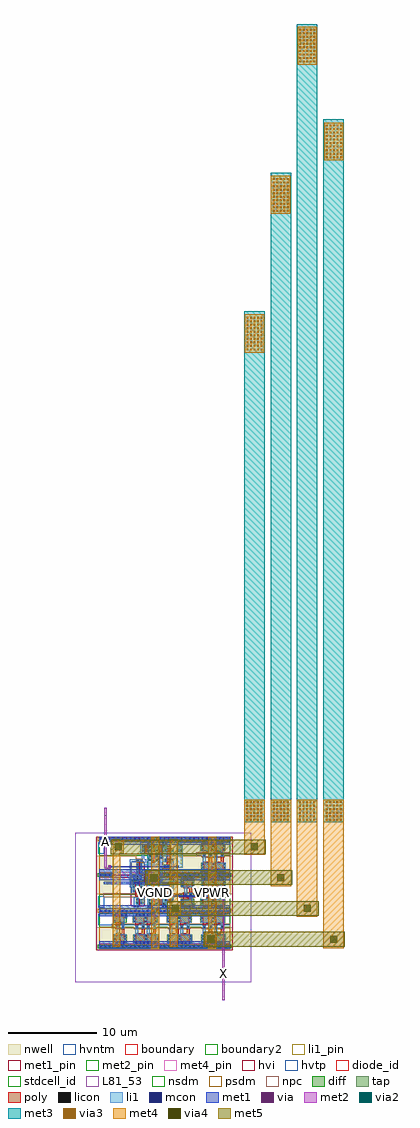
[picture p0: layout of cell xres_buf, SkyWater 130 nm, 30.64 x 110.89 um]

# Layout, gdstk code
from math import pi, radians
import gdstk
lib = gdstk.Library(unit=1e-6, precision=1e-09)
def R(c, l, rs):  # rectangles x0, y0, x1, y1
    for r in rs: c.add(gdstk.rectangle(r[:2], r[2:], *l))
def A(c, l, x, y, w, h, nx, ny, dx, dy):  # array of equal rectangles
    R(c, l, [(x+i*dx, y+j*dy, x+i*dx+w, y+j*dy+h) for i in range(nx) for j in range(ny)])
def P(c, l, *ps):  # polygons
    for p in ps: c.add(gdstk.Polygon(p, *l))
nwell = (64, 20)
diff = (65, 20)
tap = (65, 44)
poly = (66, 20)
licon = (66, 44)
li1_pin = (67, 16)
li1 = (67, 20)
mcon = (67, 44)
met1_pin = (68, 16)
met1 = (68, 20)
via = (68, 44)
met2_pin = (69, 16)
met2 = (69, 20)
via2 = (69, 44)
met3 = (70, 20)
via3 = (70, 44)
met4_pin = (71, 16)
met4 = (71, 20)
via4 = (71, 44)
met5 = (72, 20)
hvi = (75, 20)
hvtp = (78, 44)
stdcell_id = (81, 4)
diode_id = (81, 23)
L81_53 = (81, 53)
nsdm = (93, 44)
psdm = (94, 20)
npc = (95, 20)
hvntm = (125, 20)
boundary = (235, 4)
boundary2 = (236, 0)

sky130_fd_sc_hvl__decap_ = lib.new_cell('sky130_fd_sc_hvl__decap_4')
R(sky130_fd_sc_hvl__decap_, nwell, [(-0.33,1.885,2.25,4.485)])
R(sky130_fd_sc_hvl__decap_, diff, [(0.21,0.595,1.76,1.345), (0.21,2.705,1.76,3.705)])
R(sky130_fd_sc_hvl__decap_, tap, [(0,-0.085,1.92,0.085), (0,3.985,1.92,4.155)])
P(sky130_fd_sc_hvl__decap_, poly, [(0.475,1.7),(0.475,3.835),(1.475,3.835),(1.475,2.575),(0.805,2.575),(0.805,1.7)],
  [(0.475,0.405),(0.475,1.475),(1.015,1.475),(1.015,2.03),(1.475,2.03),(1.475,0.405)])
A(sky130_fd_sc_hvl__decap_, licon, 0.155, -0.085, 0.17, 0.17, 4, 2, 0.48, 4.07)
A(sky130_fd_sc_hvl__decap_, licon, 0.25, 2.765, 0.17, 0.17, 1, 3, 0, 0.355)
A(sky130_fd_sc_hvl__decap_, licon, 1.53, 2.765, 0.17, 0.17, 1, 3, 0, 0.355)
R(sky130_fd_sc_hvl__decap_, licon, [(0.25,0.675,0.42,0.845), (1.53,0.725,1.7,0.895), (1.53,1.08,1.7,1.25), (0.555,1.78,0.725,1.95), (1.095,1.78,1.265,1.95)])
R(sky130_fd_sc_hvl__decap_, li1, [(0,-0.085,1.92,0.085), (0,3.985,1.92,4.155)])
P(sky130_fd_sc_hvl__decap_, li1, [(1.015,1.7),(1.015,2.685),(0.25,2.685),(0.25,3.755),(1.7,3.755),(1.7,2.685),(1.345,2.685),(1.345,1.7)],
  [(0.17,0.365),(0.17,0.845),(0.475,0.845),(0.475,2.03),(0.805,2.03),(0.805,1.25),(1.78,1.25),(1.78,0.365)])
A(sky130_fd_sc_hvl__decap_, mcon, 0.155, -0.085, 0.17, 0.17, 4, 2, 0.48, 4.07)
A(sky130_fd_sc_hvl__decap_, mcon, 0.215, 0.395, 0.17, 0.17, 3, 1, 0.44, 0)
R(sky130_fd_sc_hvl__decap_, mcon, [(1.51,0.395,1.68,0.565), (0.495,3.56,0.665,3.73), (0.86,3.56,1.03,3.73), (1.3,3.56,1.47,3.73)])
R(sky130_fd_sc_hvl__decap_, met1_pin, [(0,0,1.92,0.115), (0,0,1.92,0.115), (0,0.255,1.92,0.625), (0,3.445,1.92,3.815), (0,3.955,1.92,4.07), (0,3.955,1.92,4.07)])
R(sky130_fd_sc_hvl__decap_, met1, [(0,-0.115,1.92,0.115), (0,0.255,1.92,0.625), (0,3.445,1.92,3.815), (0,3.955,1.92,4.185)])
R(sky130_fd_sc_hvl__decap_, hvi, [(-0.33,-0.265,2.25,4.485)])
R(sky130_fd_sc_hvl__decap_, stdcell_id, [(0,0,1.92,4.07)])
R(sky130_fd_sc_hvl__decap_, nsdm, [(-0.13,3.855,2.05,4.285)])
P(sky130_fd_sc_hvl__decap_, nsdm, [(0,0.215),(0,1.885),(0.425,1.885),(0.425,2.07),(1.54,2.07),(1.54,1.885),(1.92,1.885),(1.92,0.215)])
R(sky130_fd_sc_hvl__decap_, psdm, [(-0.13,-0.215,2.05,0.215)])
P(sky130_fd_sc_hvl__decap_, psdm, [(0,1.885),(0,3.855),(1.92,3.855),(1.92,1.885),(1.54,1.885),(1.54,2.07),(0.425,2.07),(0.425,1.885)])
P(sky130_fd_sc_hvl__decap_, npc, [(0,1.5),(0,1.97),(0.425,1.97),(0.425,2.05),(1.54,2.05),(1.54,1.97),(1.92,1.97),(1.92,1.5)])
R(sky130_fd_sc_hvl__decap_, hvntm, [(-0.035,0.35,1.955,1.64)])
R(sky130_fd_sc_hvl__decap_, boundary2, [(0,0,1.92,4.07)])
sky130_fd_sc_hvl__decap_.add(gdstk.Label('decap_4', (0,0), layer=83, texttype=44))
sky130_fd_sc_hvl__decap_.add(gdstk.Label('VNB', (0.96,0.058), layer=68, texttype=5))
sky130_fd_sc_hvl__decap_.add(gdstk.Label('VGND', (0.96,0.44), layer=68, texttype=5))
sky130_fd_sc_hvl__decap_.add(gdstk.Label('VNB', (0.96,0.058), layer=68, texttype=5))
sky130_fd_sc_hvl__decap_.add(gdstk.Label('VPWR', (0.96,3.63), layer=68, texttype=5))
sky130_fd_sc_hvl__decap_.add(gdstk.Label('VPB', (0.96,4.013), layer=68, texttype=5))
sky130_fd_sc_hvl__decap_.add(gdstk.Label('VPB', (0.96,4.013), layer=68, texttype=5))

c_sky130_fd_sc_hvl__decap_ = lib.new_cell('sky130_fd_sc_hvl__decap_8')
R(c_sky130_fd_sc_hvl__decap_, nwell, [(-0.33,1.885,4.17,4.485)])
R(c_sky130_fd_sc_hvl__decap_, diff, [(0.535,0.59,3.365,1.34), (0.46,2.7,3.3,3.7)])
R(c_sky130_fd_sc_hvl__decap_, tap, [(0,-0.085,3.84,0.085), (0,3.985,3.84,4.155)])
P(c_sky130_fd_sc_hvl__decap_, poly, [(2.08,0.4),(2.08,1.47),(2.75,1.47),(2.75,2.025),(3.08,2.025),(3.08,0.4)],
  [(2.015,1.695),(2.015,3.83),(3.015,3.83),(3.015,2.57),(2.345,2.57),(2.345,1.695)],
  [(0.735,1.695),(0.735,3.83),(1.735,3.83),(1.735,2.57),(1.065,2.57),(1.065,1.695)],
  [(0.8,0.4),(0.8,1.47),(1.47,1.47),(1.47,2.025),(1.8,2.025),(1.8,0.4)])
A(c_sky130_fd_sc_hvl__decap_, licon, 0.155, -0.085, 0.17, 0.17, 8, 2, 0.48, 4.07)
A(c_sky130_fd_sc_hvl__decap_, licon, 0.575, 0.72, 0.17, 0.17, 3, 2, 1.28, 0.39)
A(c_sky130_fd_sc_hvl__decap_, licon, 0.5, 2.76, 0.17, 0.17, 1, 3, 0, 0.355)
A(c_sky130_fd_sc_hvl__decap_, licon, 1.79, 2.76, 0.17, 0.17, 1, 3, 0, 0.355)
A(c_sky130_fd_sc_hvl__decap_, licon, 3.07, 2.76, 0.17, 0.17, 1, 3, 0, 0.355)
R(c_sky130_fd_sc_hvl__decap_, licon, [(0.815,1.775,0.985,1.945), (1.55,1.775,1.72,1.945), (2.095,1.775,2.265,1.945), (2.83,1.775,3,1.945)])
R(c_sky130_fd_sc_hvl__decap_, li1, [(0,-0.085,3.84,0.085), (0,3.985,3.84,4.155)])
P(c_sky130_fd_sc_hvl__decap_, li1, [(1.47,1.695),(1.47,2.68),(0.5,2.68),(0.5,3.75),(3.24,3.75),(3.24,2.68),(3.08,2.68),(3.08,1.695),(2.75,1.695),(2.75,2.68),(1.8,2.68),(1.8,1.695)],
  [(0.575,0.36),(0.575,1.36),(0.735,1.36),(0.735,2.025),(1.065,2.025),(1.065,1.36),(2.015,1.36),(2.015,2.025),(2.345,2.025),(2.345,1.36),(3.305,1.36),(3.305,0.36)])
A(c_sky130_fd_sc_hvl__decap_, mcon, 0.155, -0.085, 0.17, 0.17, 8, 2, 0.48, 4.07)
R(c_sky130_fd_sc_hvl__decap_, mcon, [(0.745,0.39,0.915,0.56), (1.185,0.39,1.355,0.56), (1.6,0.39,1.77,0.56), (2.025,0.39,2.195,0.56), (2.465,0.39,2.635,0.56), (2.88,0.39,3.05,0.56), (0.705,3.555,0.875,3.725), (1.145,3.555,1.315,3.725), (1.56,3.555,1.73,3.725), (1.985,3.555,2.155,3.725), (2.425,3.555,2.595,3.725), (2.84,3.555,3.01,3.725)])
R(c_sky130_fd_sc_hvl__decap_, met1_pin, [(0,0,3.84,0.115), (0,0,3.84,0.115), (0,0.255,3.84,0.625), (0,3.445,3.84,3.815), (0,3.955,3.84,4.07), (0,3.955,3.84,4.07)])
R(c_sky130_fd_sc_hvl__decap_, met1, [(0,-0.115,3.84,0.115), (0,0.255,3.84,0.625), (0,3.445,3.84,3.815), (0,3.955,3.84,4.185)])
R(c_sky130_fd_sc_hvl__decap_, hvi, [(-0.33,-0.265,4.17,4.485)])
R(c_sky130_fd_sc_hvl__decap_, stdcell_id, [(0,0,3.84,4.07)])
R(c_sky130_fd_sc_hvl__decap_, nsdm, [(-0.13,3.855,3.97,4.285)])
P(c_sky130_fd_sc_hvl__decap_, nsdm, [(0,0.215),(0,1.885),(0.705,1.885),(0.705,2.055),(3.24,2.055),(3.24,1.885),(3.84,1.885),(3.84,0.215)])
R(c_sky130_fd_sc_hvl__decap_, psdm, [(-0.13,-0.215,3.97,0.215)])
P(c_sky130_fd_sc_hvl__decap_, psdm, [(0,1.885),(0,3.855),(3.84,3.855),(3.84,1.885),(3.24,1.885),(3.24,2.055),(0.705,2.055),(0.705,1.885)])
P(c_sky130_fd_sc_hvl__decap_, npc, [(0,1.5),(0,1.97),(0.615,1.97),(0.615,2.05),(3.2,2.05),(3.2,1.97),(3.84,1.97),(3.84,1.5)])
R(c_sky130_fd_sc_hvl__decap_, hvntm, [(-0.035,0.35,3.875,1.64)])
R(c_sky130_fd_sc_hvl__decap_, boundary2, [(0,0,3.84,4.07)])
c_sky130_fd_sc_hvl__decap_.add(gdstk.Label('decap_8', (0,0), layer=83, texttype=44))
c_sky130_fd_sc_hvl__decap_.add(gdstk.Label('VNB', (1.92,0.058), layer=68, texttype=5))
c_sky130_fd_sc_hvl__decap_.add(gdstk.Label('VGND', (1.92,0.44), layer=68, texttype=5))
c_sky130_fd_sc_hvl__decap_.add(gdstk.Label('VNB', (1.92,0.058), layer=68, texttype=5))
c_sky130_fd_sc_hvl__decap_.add(gdstk.Label('VPWR', (1.92,3.63), layer=68, texttype=5))
c_sky130_fd_sc_hvl__decap_.add(gdstk.Label('VPB', (1.92,4.013), layer=68, texttype=5))
c_sky130_fd_sc_hvl__decap_.add(gdstk.Label('VPB', (1.92,4.013), layer=68, texttype=5))

sky130_fd_sc_hvl__fill_1 = lib.new_cell('sky130_fd_sc_hvl__fill_1')
R(sky130_fd_sc_hvl__fill_1, nwell, [(-0.33,1.885,0.81,4.485)])
R(sky130_fd_sc_hvl__fill_1, tap, [(0,-0.085,0.48,0.085), (0,3.985,0.48,4.155)])
R(sky130_fd_sc_hvl__fill_1, licon, [(0.155,-0.085,0.325,0.085), (0.155,3.985,0.325,4.155)])
R(sky130_fd_sc_hvl__fill_1, li1, [(0,-0.085,0.48,0.085), (0,3.985,0.48,4.155)])
R(sky130_fd_sc_hvl__fill_1, mcon, [(0.155,-0.085,0.325,0.085), (0.155,-0.085,0.325,0.085), (0.155,3.985,0.325,4.155), (0.155,3.985,0.325,4.155)])
R(sky130_fd_sc_hvl__fill_1, met1_pin, [(0,0,0.48,0.115), (0,0,0.48,0.115), (0,0.255,0.48,0.625), (0,3.445,0.48,3.815), (0,3.955,0.48,4.07), (0,3.955,0.48,4.07)])
R(sky130_fd_sc_hvl__fill_1, met1, [(0,-0.115,0.48,0.115), (0,0.255,0.48,0.625), (0,3.445,0.48,3.815), (0,3.955,0.48,4.185)])
R(sky130_fd_sc_hvl__fill_1, hvi, [(-0.33,-0.265,0.81,4.485)])
R(sky130_fd_sc_hvl__fill_1, stdcell_id, [(0,0,0.48,4.07)])
R(sky130_fd_sc_hvl__fill_1, nsdm, [(0,0.215,0.48,1.885), (-0.13,3.855,0.61,4.285), (0,3.855,0.48,4.07)])
R(sky130_fd_sc_hvl__fill_1, psdm, [(-0.13,-0.215,0.61,0.215), (0,1.885,0.48,3.855)])
R(sky130_fd_sc_hvl__fill_1, hvntm, [(-0.11,0.35,0.59,1.64)])
R(sky130_fd_sc_hvl__fill_1, boundary2, [(0,0,0.48,4.07)])
sky130_fd_sc_hvl__fill_1.add(gdstk.Label('fill_1', (0,0), layer=83, texttype=44))
sky130_fd_sc_hvl__fill_1.add(gdstk.Label('VNB', (0.24,0.058), layer=68, texttype=5))
sky130_fd_sc_hvl__fill_1.add(gdstk.Label('VNB', (0.24,0.058), layer=68, texttype=5))
sky130_fd_sc_hvl__fill_1.add(gdstk.Label('VPWR', (0.24,3.63), layer=68, texttype=5))
sky130_fd_sc_hvl__fill_1.add(gdstk.Label('VPB', (0.24,4.013), layer=68, texttype=5))
sky130_fd_sc_hvl__fill_1.add(gdstk.Label('VPB', (0.24,4.013), layer=68, texttype=5))
sky130_fd_sc_hvl__fill_1.add(gdstk.Label('VGND', (0.24,0.44), layer=68, texttype=5))

sky130_fd_sc_hvl__fill_2 = lib.new_cell('sky130_fd_sc_hvl__fill_2')
R(sky130_fd_sc_hvl__fill_2, nwell, [(-0.33,1.885,1.29,4.485)])
R(sky130_fd_sc_hvl__fill_2, tap, [(0,-0.085,0.96,0.085), (0,3.985,0.96,4.155)])
R(sky130_fd_sc_hvl__fill_2, licon, [(0.155,-0.085,0.325,0.085), (0.635,-0.085,0.805,0.085), (0.155,3.985,0.325,4.155), (0.635,3.985,0.805,4.155)])
R(sky130_fd_sc_hvl__fill_2, li1, [(0,-0.085,0.96,0.085), (0,3.985,0.96,4.155)])
R(sky130_fd_sc_hvl__fill_2, mcon, [(0.155,-0.085,0.325,0.085), (0.155,-0.085,0.325,0.085), (0.635,-0.085,0.805,0.085), (0.635,-0.085,0.805,0.085), (0.155,3.985,0.325,4.155), (0.155,3.985,0.325,4.155), (0.635,3.985,0.805,4.155), (0.635,3.985,0.805,4.155)])
R(sky130_fd_sc_hvl__fill_2, met1_pin, [(0,0,0.96,0.115), (0,0,0.96,0.115), (0,0.255,0.96,0.625), (0,3.445,0.96,3.815), (0,3.955,0.96,4.07), (0,3.955,0.96,4.07)])
R(sky130_fd_sc_hvl__fill_2, met1, [(0,-0.115,0.96,0.115), (0,0.255,0.96,0.625), (0,3.445,0.96,3.815), (0,3.955,0.96,4.185)])
R(sky130_fd_sc_hvl__fill_2, hvi, [(-0.33,-0.265,1.29,4.485)])
R(sky130_fd_sc_hvl__fill_2, stdcell_id, [(0,0,0.96,4.07)])
R(sky130_fd_sc_hvl__fill_2, nsdm, [(0,0.215,0.96,1.885), (-0.13,3.855,1.09,4.285), (0,3.855,0.96,4.07)])
R(sky130_fd_sc_hvl__fill_2, psdm, [(-0.13,-0.215,1.09,0.215), (0,1.885,0.96,3.855)])
R(sky130_fd_sc_hvl__fill_2, hvntm, [(-0.035,0.35,0.995,1.64)])
R(sky130_fd_sc_hvl__fill_2, boundary2, [(0,0,0.96,4.07)])
sky130_fd_sc_hvl__fill_2.add(gdstk.Label('fill_2', (0,0), layer=83, texttype=44))
sky130_fd_sc_hvl__fill_2.add(gdstk.Label('VGND', (0.48,0.44), layer=68, texttype=5))
sky130_fd_sc_hvl__fill_2.add(gdstk.Label('VNB', (0.48,0.058), layer=68, texttype=5))
sky130_fd_sc_hvl__fill_2.add(gdstk.Label('VNB', (0.48,0.058), layer=68, texttype=5))
sky130_fd_sc_hvl__fill_2.add(gdstk.Label('VPWR', (0.48,3.63), layer=68, texttype=5))
sky130_fd_sc_hvl__fill_2.add(gdstk.Label('VPB', (0.48,4.013), layer=68, texttype=5))
sky130_fd_sc_hvl__fill_2.add(gdstk.Label('VPB', (0.48,4.013), layer=68, texttype=5))

sky130_fd_sc_hvl__diode_ = lib.new_cell('sky130_fd_sc_hvl__diode_2')
R(sky130_fd_sc_hvl__diode_, nwell, [(-0.33,1.885,1.29,4.485)])
R(sky130_fd_sc_hvl__diode_, diff, [(0.15,0.535,0.81,1.455)])
R(sky130_fd_sc_hvl__diode_, tap, [(0,-0.085,0.96,0.085), (0,3.985,0.96,4.155)])
R(sky130_fd_sc_hvl__diode_, licon, [(0.155,-0.085,0.325,0.085), (0.635,-0.085,0.805,0.085), (0.21,0.595,0.38,0.765), (0.58,0.595,0.75,0.765), (0.21,1.225,0.38,1.395), (0.58,1.225,0.75,1.395), (0.155,3.985,0.325,4.155), (0.635,3.985,0.805,4.155)])
A(sky130_fd_sc_hvl__diode_, li1_pin, 0.155, 0.84, 0.17, 0.17, 1, 7, 0, 0.37)
A(sky130_fd_sc_hvl__diode_, li1_pin, 0.635, 0.84, 0.17, 0.17, 1, 7, 0, 0.37)
R(sky130_fd_sc_hvl__diode_, li1, [(0,-0.085,0.96,0.085), (0.105,0.515,0.855,3.28), (0,3.985,0.96,4.155)])
R(sky130_fd_sc_hvl__diode_, mcon, [(0.155,-0.085,0.325,0.085), (0.155,-0.085,0.325,0.085), (0.635,-0.085,0.805,0.085), (0.635,-0.085,0.805,0.085), (0.155,3.985,0.325,4.155), (0.155,3.985,0.325,4.155), (0.635,3.985,0.805,4.155), (0.635,3.985,0.805,4.155)])
R(sky130_fd_sc_hvl__diode_, met1_pin, [(0,0,0.96,0.115), (0,0,0.96,0.115), (0,0.255,0.96,0.625), (0,3.445,0.96,3.815), (0,3.955,0.96,4.07), (0,3.955,0.96,4.07)])
R(sky130_fd_sc_hvl__diode_, met1, [(0,-0.115,0.96,0.115), (0,0.255,0.96,0.625), (0,3.445,0.96,3.815), (0,3.955,0.96,4.185)])
R(sky130_fd_sc_hvl__diode_, hvi, [(-0.33,-0.265,1.29,4.485)])
R(sky130_fd_sc_hvl__diode_, stdcell_id, [(0,0,0.96,4.07)])
R(sky130_fd_sc_hvl__diode_, diode_id, [(0.15,0.535,0.81,1.455)])
R(sky130_fd_sc_hvl__diode_, nsdm, [(0,0.215,0.96,1.885), (-0.13,3.855,1.09,4.285), (0,3.855,0.96,4.07)])
R(sky130_fd_sc_hvl__diode_, psdm, [(-0.13,-0.215,1.09,0.215), (0,1.885,0.96,3.855)])
R(sky130_fd_sc_hvl__diode_, hvntm, [(-0.035,0.35,0.995,1.64)])
R(sky130_fd_sc_hvl__diode_, boundary2, [(0,0,0.96,4.07)])
sky130_fd_sc_hvl__diode_.add(gdstk.Label('diode_2', (0,0), layer=83, texttype=44))
sky130_fd_sc_hvl__diode_.add(gdstk.Label('VGND', (0.48,0.44), layer=68, texttype=5))
sky130_fd_sc_hvl__diode_.add(gdstk.Label('VNB', (0.48,0.058), layer=68, texttype=5))
sky130_fd_sc_hvl__diode_.add(gdstk.Label('VNB', (0.48,0.058), layer=68, texttype=5))
sky130_fd_sc_hvl__diode_.add(gdstk.Label('VPWR', (0.48,3.63), layer=68, texttype=5))
sky130_fd_sc_hvl__diode_.add(gdstk.Label('VPB', (0.48,4.013), layer=68, texttype=5))
sky130_fd_sc_hvl__diode_.add(gdstk.Label('VPB', (0.48,4.013), layer=68, texttype=5))
sky130_fd_sc_hvl__diode_.add(gdstk.Label('DIODE', (0.24,3.145), layer=67, texttype=5))
sky130_fd_sc_hvl__diode_.add(gdstk.Label('DIODE', (0.72,3.145), layer=67, texttype=5))
sky130_fd_sc_hvl__diode_.add(gdstk.Label('DIODE', (0.24,2.775), layer=67, texttype=5))
sky130_fd_sc_hvl__diode_.add(gdstk.Label('DIODE', (0.72,2.775), layer=67, texttype=5))
sky130_fd_sc_hvl__diode_.add(gdstk.Label('DIODE', (0.24,2.405), layer=67, texttype=5))
sky130_fd_sc_hvl__diode_.add(gdstk.Label('DIODE', (0.72,2.405), layer=67, texttype=5))
sky130_fd_sc_hvl__diode_.add(gdstk.Label('DIODE', (0.24,2.035), layer=67, texttype=5))
sky130_fd_sc_hvl__diode_.add(gdstk.Label('DIODE', (0.72,2.035), layer=67, texttype=5))
sky130_fd_sc_hvl__diode_.add(gdstk.Label('DIODE', (0.24,1.665), layer=67, texttype=5))
sky130_fd_sc_hvl__diode_.add(gdstk.Label('DIODE', (0.72,1.665), layer=67, texttype=5))
sky130_fd_sc_hvl__diode_.add(gdstk.Label('DIODE', (0.72,1.295), layer=67, texttype=5))
sky130_fd_sc_hvl__diode_.add(gdstk.Label('DIODE', (0.72,0.925), layer=67, texttype=5))
sky130_fd_sc_hvl__diode_.add(gdstk.Label('DIODE', (0.24,0.925), layer=67, texttype=5))
sky130_fd_sc_hvl__diode_.add(gdstk.Label('DIODE', (0.24,1.295), layer=67, texttype=5))

sky130_fd_sc_hvl__lsbufh = lib.new_cell('sky130_fd_sc_hvl__lsbufhv2lv_1')
R(sky130_fd_sc_hvl__lsbufh, nwell, [(-0.33,1.885,1.53,6.255), (7,1.885,8.49,6.255), (3.53,1.925,5,5.575)])
R(sky130_fd_sc_hvl__lsbufh, diff, [(1.96,0.705,2.99,1.455), (3.71,0.755,4.39,1.495), (3.71,2.105,4.82,3.225), (1.96,2.125,2.99,2.875), (0.15,2.215,1.2,2.635), (1.96,3.175,2.99,3.925), (3.71,4.275,4.39,5.395), (0.15,5.505,1.2,5.925), (1.96,5.635,2.99,6.385), (1.96,6.685,2.99,7.435), (2.74,6.685,3.77,7.435)])
P(sky130_fd_sc_hvl__lsbufh, diff, [(0.15,6.685),(0.15,7.105),(1.01,7.105),(1.01,7.435),(2.04,7.435),(2.04,6.685)],
  [(1.01,0.705),(1.01,1.035),(0.15,1.035),(0.15,1.455),(2.04,1.455),(2.04,0.705)])
R(sky130_fd_sc_hvl__lsbufh, tap, [(0,-0.085,8.16,0.085), (3.71,3.495,4.82,4.005), (0,3.985,1.2,4.155), (7.33,3.985,8.16,4.155), (0,8.055,8.16,8.225)])
R(sky130_fd_sc_hvl__lsbufh, poly, [(3.975,0.625,4.125,3.355), (4.405,1.965,4.555,3.355), (0.63,2.795,1.3,3.125), (2.225,3.045,2.725,4.055), (3.975,4.145,4.125,5.555), (2.83,4.265,3.5,4.595), (0.63,4.87,1.3,5.2), (0.63,5.2,0.935,5.375), (0.435,5.375,0.935,6.085), (3.715,5.555,4.385,5.885), (0.435,5.97,0.935,7.37)])
P(sky130_fd_sc_hvl__lsbufh, poly, [(1.445,0.575),(1.445,2.235),(1.775,2.235),(1.775,1.98),(2.225,1.98),(2.225,3.045),(2.725,3.045),(2.725,0.575),(2.225,0.575),(2.225,1.65),(1.945,1.65),(1.945,0.575)],
  [(3.17,1.635),(3.17,4.265),(3.5,4.265),(3.5,1.965),(4.555,1.965),(4.555,1.635)],
  [(0.435,0.905),(0.435,2.765),(0.63,2.765),(0.63,2.795),(0.935,2.795),(0.935,0.905)],
  [(2.225,5.505),(2.225,6.46),(1.775,6.46),(1.775,5.905),(1.445,5.905),(1.445,7.565),(1.945,7.565),(1.945,6.61),(2.225,6.61),(2.225,7.565),(2.725,7.565),(2.725,6.61),(3.005,6.61),(3.005,7.565),(3.505,7.565),(3.505,6.46),(2.725,6.46),(2.725,5.505)])
A(sky130_fd_sc_hvl__lsbufh, licon, 0.155, -0.085, 0.17, 0.17, 17, 2, 0.48, 8.14)
A(sky130_fd_sc_hvl__lsbufh, licon, 1.22, 0.765, 0.17, 0.17, 3, 1, 0.78, 0)
A(sky130_fd_sc_hvl__lsbufh, licon, 3.75, 2.165, 0.17, 0.17, 3, 1, 0.43, 0)
A(sky130_fd_sc_hvl__lsbufh, licon, 3.83, 3.495, 0.17, 0.17, 3, 2, 0.35, 0.34)
A(sky130_fd_sc_hvl__lsbufh, licon, 3.75, 4.335, 0.17, 0.17, 1, 3, 0, 0.415)
A(sky130_fd_sc_hvl__lsbufh, licon, 4.18, 4.335, 0.17, 0.17, 1, 3, 0, 0.415)
A(sky130_fd_sc_hvl__lsbufh, licon, 2, 6.745, 0.17, 0.17, 3, 1, 0.78, 0)
A(sky130_fd_sc_hvl__lsbufh, licon, 1.22, 7.205, 0.17, 0.17, 4, 1, 0.78, 0)
R(sky130_fd_sc_hvl__lsbufh, licon, [(3.75,0.815,3.92,0.985), (4.18,0.815,4.35,0.985), (0.21,1.16,0.38,1.33), (0.99,1.16,1.16,1.33), (2,1.205,2.17,1.375), (2.78,1.205,2.95,1.375), (3.75,1.265,3.92,1.435), (4.18,1.265,4.35,1.435), (1.525,1.645,1.695,1.815), (1.525,1.985,1.695,2.155), (2,2.185,2.17,2.355), (2.78,2.185,2.95,2.355), (0.21,2.34,0.38,2.51), (0.99,2.34,1.16,2.51), (3.75,2.58,3.92,2.75), (4.18,2.58,4.35,2.75), (2,2.625,2.17,2.795), (2.78,2.625,2.95,2.795), (4.61,2.655,4.78,2.825), (0.71,2.875,0.88,3.045), (1.05,2.875,1.22,3.045), (3.75,2.995,3.92,3.165), (4.18,2.995,4.35,3.165), (2,3.235,2.17,3.405), (2.78,3.235,2.95,3.405), (2,3.675,2.17,3.845), (2.78,3.675,2.95,3.845), (0.155,3.985,0.325,4.155), (0.635,3.985,0.805,4.155), (7.45,3.985,7.62,4.155), (7.835,3.985,8.005,4.155), (2.91,4.345,3.08,4.515), (3.25,4.345,3.42,4.515), (0.71,4.95,0.88,5.12), (1.05,4.95,1.22,5.12), (0.21,5.63,0.38,5.8), (0.99,5.63,1.16,5.8), (3.795,5.635,3.965,5.805), (4.135,5.635,4.305,5.805), (2,5.695,2.17,5.865), (2.78,5.695,2.95,5.865), (1.525,5.985,1.695,6.155), (2,6.155,2.17,6.325), (2.78,6.155,2.95,6.325), (1.525,6.325,1.695,6.495), (0.21,6.81,0.38,6.98), (0.99,6.81,1.16,6.98)])
A(sky130_fd_sc_hvl__lsbufh, li1_pin, 3.515, 0.84, 0.17, 0.17, 1, 6, 0, 0.37)
R(sky130_fd_sc_hvl__lsbufh, li1_pin, [(0.635,4.91,0.805,5.08), (1.115,4.91,1.285,5.08)])
R(sky130_fd_sc_hvl__lsbufh, li1, [(0,-0.085,8.16,0.085), (0.895,0.395,1.485,1.395), (2.57,0.395,3.16,3.91), (4.13,0.395,4.72,1.515), (3.485,0.735,3.96,3.245), (0,3.985,0.885,4.155), (7.275,3.985,8.16,4.155), (4.13,4.015,4.4,5.415), (0.63,4.87,1.3,5.2), (2.53,5.615,3.12,7.745), (0.895,6.745,1.485,7.745), (0,8.055,8.16,8.225)])
P(sky130_fd_sc_hvl__lsbufh, li1, [(1.92,0.685),(1.92,4.595),(3.71,4.595),(3.71,5.415),(3.96,5.415),(3.96,4.255),(2.25,4.255),(2.25,0.685)],
  [(4.57,2.085),(4.57,2.905),(4.92,2.905),(4.92,5.595),(3.54,5.595),(3.54,5.195),(1.92,5.195),(1.92,7.455),(2.25,7.455),(2.25,5.445),(3.29,5.445),(3.29,5.845),(3.48,5.845),(3.48,7.455),(3.81,7.455),(3.81,5.845),(5.17,5.845),(5.17,2.655),(4.82,2.655),(4.82,2.085)],
  [(0.63,2.835),(0.63,3.085),(1.47,3.085),(1.47,5.55),(0.95,5.55),(0.95,6.22),(0.17,6.22),(0.17,7.06),(0.42,7.06),(0.42,6.575),(1.75,6.575),(1.75,2.835)],
  [(4.13,2.085),(4.13,3.415),(3.78,3.415),(3.78,4.085),(4.75,4.085),(4.75,3.075),(4.4,3.075),(4.4,2.085)],
  [(0.17,1.08),(0.17,1.895),(0.95,1.895),(0.95,2.59),(1.2,2.59),(1.2,1.895),(1.445,1.895),(1.445,2.235),(1.75,2.235),(1.75,1.565),(0.42,1.565),(0.42,1.08)],
  [(0.13,4.465),(0.13,5.88),(0.46,5.88),(0.46,4.695),(0.72,4.695),(0.72,4.465)],
  [(0.13,2.26),(0.13,3.675),(0.72,3.675),(0.72,3.445),(0.46,3.445),(0.46,2.26)])
A(sky130_fd_sc_hvl__lsbufh, mcon, 0.155, -0.085, 0.17, 0.17, 17, 2, 0.48, 8.14)
R(sky130_fd_sc_hvl__lsbufh, mcon, [(0.925,0.425,1.095,0.595), (1.285,0.425,1.455,0.595), (2.6,0.425,2.77,0.595), (2.96,0.425,3.13,0.595), (4.16,0.425,4.33,0.595), (4.52,0.425,4.69,0.595), (4.16,3.105,4.33,3.275), (4.52,3.105,4.69,3.275), (0.16,3.475,0.33,3.645), (0.52,3.475,0.69,3.645), (0.155,3.985,0.325,4.155), (0.635,3.985,0.805,4.155), (7.355,3.985,7.525,4.155), (7.835,3.985,8.005,4.155), (0.16,4.495,0.33,4.665), (0.52,4.495,0.69,4.665), (0.925,7.545,1.095,7.715), (1.285,7.545,1.455,7.715), (2.56,7.545,2.73,7.715), (2.92,7.545,3.09,7.715)])
R(sky130_fd_sc_hvl__lsbufh, met1_pin, [(0,0,8.16,0.115), (0,0.255,8.16,0.625), (0.07,3.02,8.09,3.305), (0,3.445,8.16,3.815), (0,3.955,8.16,4.185), (0,4.325,8.16,4.695), (0,7.515,8.16,7.885), (0,8.025,8.16,8.14)])
A(sky130_fd_sc_hvl__lsbufh, met1, 0, -0.115, 8.16, 0.23, 1, 3, 0, 4.07)
R(sky130_fd_sc_hvl__lsbufh, met1, [(0,0.255,8.16,0.625), (0.07,3.02,8.09,3.305), (0,3.445,8.16,3.815), (0,4.325,8.16,4.695), (0,7.515,8.16,7.885)])
P(sky130_fd_sc_hvl__lsbufh, hvi, [(-0.33,-0.265),(-0.33,8.405),(5,8.405),(5,5.575),(3.53,5.575),(3.53,0.575),(5,0.575),(5,8.405),(8.49,8.405),(8.49,-0.265)])
R(sky130_fd_sc_hvl__lsbufh, hvtp, [(3.53,1.925,5,5.575)])
R(sky130_fd_sc_hvl__lsbufh, stdcell_id, [(0,0,8.16,8.14)])
R(sky130_fd_sc_hvl__lsbufh, nsdm, [(3.53,3.365,5,4.135), (7,3.855,8.29,4.285)])
P(sky130_fd_sc_hvl__lsbufh, nsdm, [(0,0.215),(0,1.885),(1.83,1.885),(1.83,3.855),(-0.13,3.855),(-0.13,4.285),(1.83,4.285),(1.83,6.255),(0,6.255),(0,7.925),(8.16,7.925),(8.16,6.255),(3.12,6.255),(3.12,1.885),(8.16,1.885),(8.16,0.215)])
R(sky130_fd_sc_hvl__lsbufh, psdm, [(-0.13,-0.215,8.29,0.215), (-0.13,7.925,8.29,8.355)])
P(sky130_fd_sc_hvl__lsbufh, psdm, [(0,4.285),(0,6.255),(1.415,6.255),(1.415,5.23),(0.6,5.23),(0.6,4.84),(1.53,4.84),(1.53,4.285)],
  [(0,1.885),(0,3.855),(1.53,3.855),(1.53,3.155),(0.6,3.155),(0.6,2.765),(1.53,2.765),(1.53,2.265),(1.415,2.265),(1.415,1.885)],
  [(3.53,1.885),(3.53,3.365),(5,3.365),(5,4.135),(3.53,4.135),(3.53,5.525),(4.415,5.525),(4.415,6.255),(8.16,6.255),(8.16,4.285),(7,4.285),(7,3.855),(8.16,3.855),(8.16,1.885)])
R(sky130_fd_sc_hvl__lsbufh, npc, [(0.61,2.775,1.32,3.145), (2.81,4.245,3.52,4.615), (0.61,4.85,1.32,5.22), (3.695,5.535,4.405,5.905), (1.425,5.885,1.795,6.595)])
P(sky130_fd_sc_hvl__lsbufh, npc, [(0,1.545),(0,1.97),(1.425,1.97),(1.425,2.255),(1.795,2.255),(1.795,1.97),(8.16,1.97),(8.16,1.545),(4.48,1.545),(4.48,1.585),(3.62,1.585),(3.62,1.545)])
P(sky130_fd_sc_hvl__lsbufh, hvntm, [(-0.035,0.35),(-0.035,1.64),(1.775,1.64),(1.775,6.5),(-0.035,6.5),(-0.035,7.79),(3.955,7.79),(3.955,6.5),(3.175,6.5),(3.175,0.35)])
R(sky130_fd_sc_hvl__lsbufh, boundary2, [(0,0,8.16,8.14)])
sky130_fd_sc_hvl__lsbufh.add(gdstk.Label('lsbuflv2hv_1', (0,0), layer=83, texttype=44))
sky130_fd_sc_hvl__lsbufh.add(gdstk.Label('cross2', (3.18,2.35), layer=83, texttype=44))
sky130_fd_sc_hvl__lsbufh.add(gdstk.Label('VPWR', (4.32,3.63), layer=68, texttype=5))
sky130_fd_sc_hvl__lsbufh.add(gdstk.Label('VPWR', (4.32,4.51), layer=68, texttype=5))
sky130_fd_sc_hvl__lsbufh.add(gdstk.Label('VGND', (4.32,7.7), layer=68, texttype=5))
sky130_fd_sc_hvl__lsbufh.add(gdstk.Label('VGND', (4.32,0.44), layer=68, texttype=5))
sky130_fd_sc_hvl__lsbufh.add(gdstk.Label('VNB', (4.32,0.058), layer=68, texttype=5))
sky130_fd_sc_hvl__lsbufh.add(gdstk.Label('LVPWR', (4.32,3.165), layer=68, texttype=5))
sky130_fd_sc_hvl__lsbufh.add(gdstk.Label('VPB', (4.32,4.068), layer=68, texttype=5))
sky130_fd_sc_hvl__lsbufh.add(gdstk.Label('VNB', (4.32,8.082), layer=68, texttype=5))
sky130_fd_sc_hvl__lsbufh.add(gdstk.Label('X', (3.6,1.665), layer=67, texttype=5))
sky130_fd_sc_hvl__lsbufh.add(gdstk.Label('X', (3.6,0.925), layer=67, texttype=5))
sky130_fd_sc_hvl__lsbufh.add(gdstk.Label('X', (3.6,1.295), layer=67, texttype=5))
sky130_fd_sc_hvl__lsbufh.add(gdstk.Label('X', (3.6,2.775), layer=67, texttype=5))
sky130_fd_sc_hvl__lsbufh.add(gdstk.Label('X', (3.6,2.405), layer=67, texttype=5))
sky130_fd_sc_hvl__lsbufh.add(gdstk.Label('X', (3.6,2.035), layer=67, texttype=5))
sky130_fd_sc_hvl__lsbufh.add(gdstk.Label('A', (0.72,4.995), layer=67, texttype=5))
sky130_fd_sc_hvl__lsbufh.add(gdstk.Label('A', (1.2,4.995), layer=67, texttype=5))

xres_buf = lib.new_cell('xres_buf')
R(xres_buf, li1, [(7.675,9.72,7.845,9.89), (10.075,13.05,10.245,13.22), (11.515,13.05,11.685,13.22)])
R(xres_buf, mcon, [(7.675,9.72,7.845,9.89), (10.075,13.05,10.245,13.22), (11.515,13.05,11.685,13.22)])
A(xres_buf, met1, 2.72, 3.815, 14.88, 0.51, 1, 4, 0, 4.07)
R(xres_buf, met1, [(16.72,9.675,17.04,9.735), (7.615,9.69,7.905,9.735), (7.615,9.735,17.04,9.875), (7.615,9.875,7.905,9.92), (16.72,9.875,17.04,9.935), (10.7,11.11,11.68,11.16), (9.45,11.16,12.32,11.445), (3.76,13.005,4.08,13.065), (10.015,13.02,10.305,13.065), (11.455,13.02,11.745,13.065), (3.76,13.065,11.745,13.205), (3.76,13.205,4.08,13.265), (10.015,13.205,10.305,13.25), (11.455,13.205,11.745,13.25)])
A(xres_buf, via, 10.795, 11.205, 0.15, 0.15, 3, 1, 0.32, 0)
R(xres_buf, via, [(15.365,3.995,15.515,4.145), (15.685,3.995,15.835,4.145), (8.865,8.065,9.015,8.215), (9.185,8.065,9.335,8.215), (16.805,9.73,16.955,9.88), (15.365,12.135,15.515,12.285), (15.685,12.135,15.835,12.285), (3.845,13.06,3.995,13.21), (8.865,16.205,9.015,16.355), (9.185,16.205,9.335,16.355)])
R(xres_buf, met2_pin, [(16.74,-2,17.02,4), (3.3,13,3.58,19)])
R(xres_buf, met2, [(16.74,-2,17.02,4), (15.26,3.815,15.94,4.325), (16.81,4,16.95,9.645), (8.76,7.885,9.44,8.395), (16.75,9.645,17.01,9.965), (10.68,11.07,11.7,11.48), (15.26,11.955,15.94,12.465), (3.37,12.88,3.99,12.975), (3.37,12.975,4.05,13), (3.3,13,4.05,13.02), (3.3,13.02,3.58,19), (3.79,13.02,4.05,13.295), (8.76,16.025,9.44,16.535), (3.3,18.185,3.58,19.835)])
R(xres_buf, via2, [(15.3,3.97,15.5,4.17), (15.7,3.97,15.9,4.17), (8.8,8.04,9,8.24), (9.2,8.04,9.4,8.24), (10.89,11.18,11.09,11.38), (11.29,11.18,11.49,11.38), (15.3,12.11,15.5,12.31), (15.7,12.11,15.9,12.31), (8.8,16.18,9,16.38), (9.2,16.18,9.4,16.38)])
R(xres_buf, met3, [(15.15,3.905,16.05,4.235), (8.65,7.975,9.55,8.305), (10.68,11.07,11.7,11.48), (15.15,12.045,16.05,12.375), (8.65,16.115,9.55,16.445), (19.205,18.2,21.535,76.26), (22.205,18.2,24.535,92.01), (25.205,18.2,27.535,108.89), (28.205,18.2,30.535,98.05)])
A(xres_buf, via3, 19.46, 18.37, 0.2, 0.2, 5, 6, 0.4, 0.4)
A(xres_buf, via3, 22.46, 18.37, 0.2, 0.2, 5, 6, 0.4, 0.4)
A(xres_buf, via3, 25.445, 18.37, 0.2, 0.2, 5, 6, 0.4, 0.4)
A(xres_buf, via3, 28.475, 18.385, 0.2, 0.2, 5, 6, 0.4, 0.4)
A(xres_buf, via3, 19.47, 71.82, 0.2, 0.2, 5, 10, 0.4, 0.4)
A(xres_buf, via3, 22.455, 87.57, 0.2, 0.2, 5, 10, 0.4, 0.4)
A(xres_buf, via3, 28.5, 93.66, 0.2, 0.2, 5, 10, 0.4, 0.4)
A(xres_buf, via3, 25.48, 104.535, 0.2, 0.2, 5, 10, 0.4, 0.4)
R(xres_buf, via3, [(15.3,3.97,15.5,4.17), (15.7,3.97,15.9,4.17), (8.8,8.04,9,8.24), (9.2,8.04,9.4,8.24), (10.89,11.19,11.09,11.39), (11.29,11.19,11.49,11.39), (15.3,12.11,15.5,12.31), (15.7,12.11,15.9,12.31), (8.8,16.18,9,16.38), (9.2,16.18,9.4,16.38)])
R(xres_buf, met4_pin, [(8.65,3.815,9.55,16.535), (15.15,3.815,16.05,16.535), (4.25,4.07,5.15,16.28), (10.75,4.07,11.65,16.28)])
R(xres_buf, met4, [(8.65,3.815,9.55,16.535), (15.15,3.815,16.05,16.535), (28.205,3.9,30.535,20.74), (4.25,4.07,5.15,16.28), (10.75,4.07,11.65,11.08), (14.79,4.2,16.05,5.61), (25.205,7.435,27.535,20.74), (10.75,7.695,12.01,9.105), (22.205,10.94,24.535,20.74), (10.7,11.08,11.7,11.48), (8.29,11.205,9.55,12.615), (10.75,11.48,11.65,16.28), (19.205,14.485,21.535,20.74), (4.25,14.7,5.51,16.11), (19.275,71.555,21.485,75.9), (22.245,87.31,24.455,91.655), (28.29,93.385,30.47,97.66), (25.285,104.28,27.455,108.595)])
R(xres_buf, via4, [(15.02,4.505,15.82,5.305), (28.98,4.52,29.78,5.32), (10.98,8,11.78,8.8), (25.975,8.015,26.775,8.815), (22.97,11.485,23.77,12.285), (8.52,11.51,9.32,12.31), (4.48,15.005,5.28,15.805), (19.965,15.01,20.765,15.81)])
R(xres_buf, met5, [(14.615,4.075,30.645,5.735), (10.44,7.575,27.65,9.235), (7.985,11.075,24.66,12.735), (4.025,14.575,21.665,16.235)])
R(xres_buf, hvi, [(6.055,6.255,6.37,7.72), (9.57,6.255,10.21,7.72), (13.41,6.255,14.05,7.72), (11.395,8.56,11.815,10.025), (13.735,8.56,14.05,10.025)])
R(xres_buf, L81_53, [(0,0,20,17)])
R(xres_buf, nsdm, [(11.335,14.7,11.385,15.37)])
R(xres_buf, hvntm, [(6.055,6.615,6.37,7.73), (9.57,6.615,10.21,7.735), (13.41,6.615,14.05,7.735), (13.735,8.55,14.05,9.665), (11.395,8.99,11.815,9.67)])
R(xres_buf, boundary, [(0,0,20,17)])
xres_buf.add(gdstk.Reference(sky130_fd_sc_hvl__decap_, (13.76,8.14), rotation=pi, x_reflection=True))
xres_buf.add(gdstk.Reference(c_sky130_fd_sc_hvl__decap_, (17.6,8.14), rotation=pi))
xres_buf.add(gdstk.Reference(c_sky130_fd_sc_hvl__decap_, (13.76,8.14), rotation=pi))
xres_buf.add(gdstk.Reference(c_sky130_fd_sc_hvl__decap_, (17.6,8.14), rotation=pi, x_reflection=True))
xres_buf.add(gdstk.Reference(c_sky130_fd_sc_hvl__decap_, (9.92,8.14), rotation=pi))
xres_buf.add(gdstk.Reference(sky130_fd_sc_hvl__fill_1, (11.84,8.14), rotation=pi, x_reflection=True))
xres_buf.add(gdstk.Reference(sky130_fd_sc_hvl__decap_, (6.08,8.14), rotation=pi))
xres_buf.add(gdstk.Reference(sky130_fd_sc_hvl__fill_2, (4.16,8.14), rotation=pi))
xres_buf.add(gdstk.Reference(sky130_fd_sc_hvl__fill_1, (3.2,8.14), rotation=pi))
xres_buf.add(gdstk.Reference(sky130_fd_sc_hvl__fill_1, (3.2,8.14), rotation=pi, x_reflection=True))
xres_buf.add(gdstk.Reference(c_sky130_fd_sc_hvl__decap_, (17.6,16.28), rotation=pi))
xres_buf.add(gdstk.Reference(sky130_fd_sc_hvl__fill_1, (12.8,16.28), rotation=pi))
xres_buf.add(gdstk.Reference(sky130_fd_sc_hvl__fill_1, (3.2,16.28), rotation=pi))
xres_buf.add(gdstk.Reference(sky130_fd_sc_hvl__fill_2, (13.76,16.28), rotation=pi))
xres_buf.add(gdstk.Reference(sky130_fd_sc_hvl__diode_, (12.32,16.28), rotation=pi))
xres_buf.add(gdstk.Reference(sky130_fd_sc_hvl__lsbufh, (11.36,8.14), rotation=pi, x_reflection=True))
xres_buf.add(gdstk.Label('A', (3.44,16), layer=69, texttype=5))
xres_buf.add(gdstk.Label('X', (16.88,1), layer=69, texttype=5))
xres_buf.add(gdstk.Label('VPWR', (15.6,10.175), layer=71, texttype=5))
xres_buf.add(gdstk.Label('VGND', (9.1,10.175), layer=71, texttype=5))
xres_buf.add(gdstk.Label('LVPWR', (11.2,10.175), layer=71, texttype=5))
xres_buf.add(gdstk.Label('LVGND', (4.7,10.175), layer=71, texttype=5))

lib.write_gds('xres_buf.gds')
